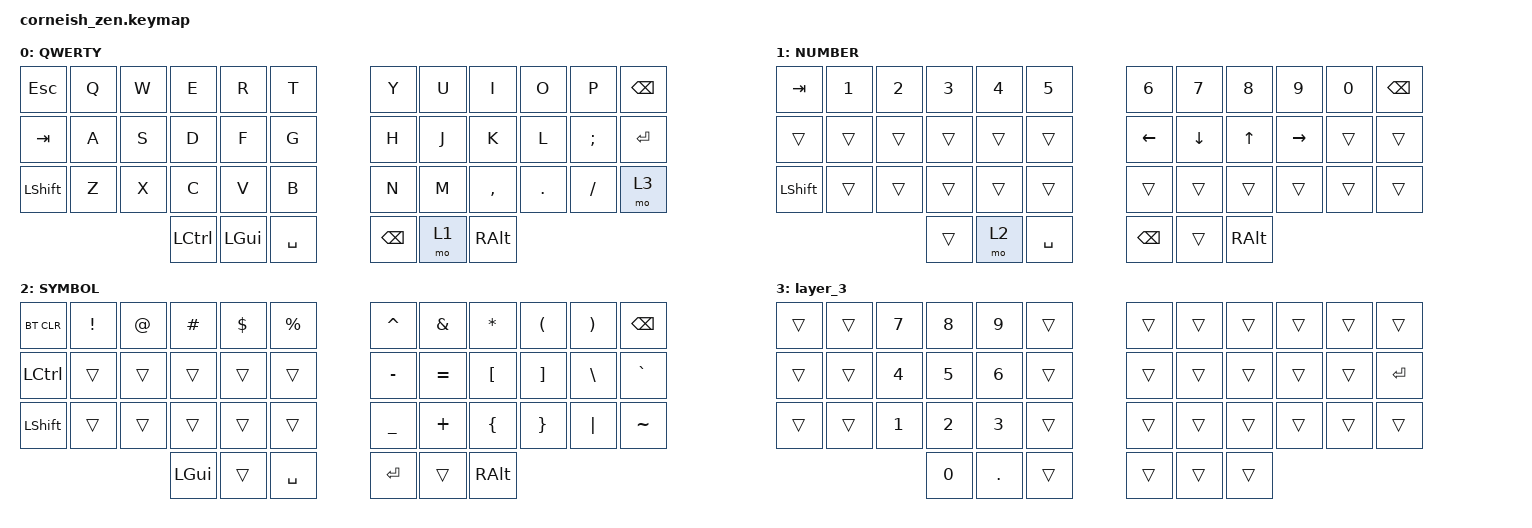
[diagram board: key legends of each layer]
/*
*
* Copyright (c) 2021 Darryl deHaan
* SPDX-License-Identifier: MIT
*
*/

#include <behaviors.dtsi>
#include <dt-bindings/zmk/bt.h>
#include <dt-bindings/zmk/keys.h>

/ {
    chosen {
        zmk,matrix-transform = &default_transform;

        // zmk,matrix-transform = &five_column_transform;
    };
};

/ {
    keymap {
        compatible = "zmk,keymap";

        default_layer {
            display-name = "QWERTY";

            // --------------------------------------------------------------------------------
            // |  TAB |  Q  |  W  |  E  |  R  |  T  |   |  Y  |  U   |  I  |  O  |  P  | BKSP |
            // | CTRL |  A  |  S  |  D  |  F  |  G  |   |  H  |  J   |  K  |  L  |  ;  |  '   |
            // | SHFT |  Z  |  X  |  C  |  V  |  B  |   |  N  |  M   |  ,  |  .  |  /  | ESC  |
            //                    | GUI | LWR | SPC |   | ENT | RSE  | ALT |

            bindings = <
&kp ESCAPE  &kp Q  &kp W  &kp E      &kp R         &kp T        &kp Y          &kp U  &kp I      &kp O    &kp P     &kp BSPC
&kp TAB     &kp A  &kp S  &kp D      &kp F         &kp G        &kp H          &kp J  &kp K      &kp L    &kp SEMI  &kp ENTER
&kp LSHFT   &kp Z  &kp X  &kp C      &kp V         &kp B        &kp N          &kp M  &kp COMMA  &kp DOT  &kp FSLH  &mo 3
                          &kp LCTRL  &kp LEFT_GUI  &kp SPACE    &kp BACKSPACE  &mo 1  &kp RALT
            >;
        };

        lower_layer {
            display-name = "NUMBER";

            // -----------------------------------------------------------------------------------------
            // |  TAB |  1  |  2  |  3  |  4  |  5  |   |  6  |  7  |  8  |  9  |  0  | BKSP |
            // | BTCLR| BT1 | BT2 | BT3 | BT4 | BT5 |   | LFT | DWN |  UP | RGT |     |      |
            // | SHFT |     |     |     |     |     |   |     |     |     |     |     |      |
            //                    | GUI |     | SPC |   | ENT |     | ALT |

            bindings = <
&kp TAB    &kp N1  &kp N2  &kp N3  &kp N4  &kp N5       &kp N6         &kp N7    &kp N8    &kp N9     &kp N0  &kp BSPC
&trans     &trans  &trans  &trans  &trans  &trans       &kp LEFT       &kp DOWN  &kp UP    &kp RIGHT  &trans  &trans
&kp LSHFT  &trans  &trans  &trans  &trans  &trans       &trans         &trans    &trans    &trans     &trans  &trans
                           &trans  &mo 2   &kp SPACE    &kp BACKSPACE  &trans    &kp RALT
            >;
        };

        raise_layer {
            display-name = "SYMBOL";

            // -----------------------------------------------------------------------------------------
            // |  TAB |  !  |  @  |  #  |  $  |  %  |   |  ^  |  &  |  *  |  (  |  )  | BKSP |
            // | CTRL |     |     |     |     |     |   |  -  |  =  |  [  |  ]  |  \  |  `   |
            // | SHFT |     |     |     |     |     |   |  _  |  +  |  {  |  }  | "|" |  ~   |
            //                    | GUI |     | SPC |   | ENT |     | ALT |

            bindings = <
&bt BT_CLR  &kp EXCL  &kp AT  &kp HASH  &kp DLLR  &kp PRCNT    &kp CARET  &kp AMPS   &kp ASTRK  &kp LPAR  &kp RPAR  &kp BSPC
&kp LCTRL   &trans    &trans  &trans    &trans    &trans       &kp MINUS  &kp EQUAL  &kp LBKT   &kp RBKT  &kp BSLH  &kp GRAVE
&kp LSHFT   &trans    &trans  &trans    &trans    &trans       &kp UNDER  &kp PLUS   &kp LBRC   &kp RBRC  &kp PIPE  &kp TILDE
                              &kp LGUI  &trans    &kp SPACE    &kp RET    &trans     &kp RALT
            >;
        };

        layer_3 {
            bindings = <
&trans  &trans  &kp N7        &kp N8        &kp N9        &trans    &trans  &trans  &trans  &trans  &trans  &trans
&trans  &trans  &kp NUMBER_4  &kp N5        &kp NUMBER_6  &trans    &trans  &trans  &trans  &trans  &trans  &kp ENTER
&trans  &trans  &kp NUMBER_1  &kp NUMBER_2  &kp NUMBER_3  &trans    &trans  &trans  &trans  &trans  &trans  &trans
                              &kp N0        &kp PERIOD    &trans    &trans  &trans  &trans
            >;
        };
    };
};
